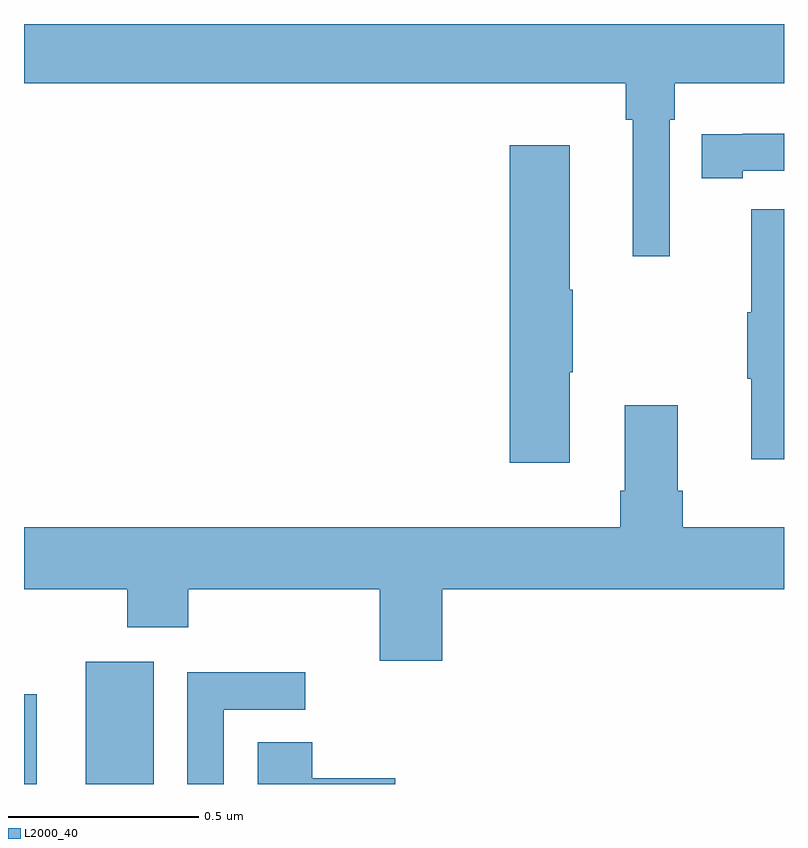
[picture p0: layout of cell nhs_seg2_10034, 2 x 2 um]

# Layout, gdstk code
import gdstk
lib = gdstk.Library(unit=1e-6, precision=1e-09)
def R(c, l, rs):  # rectangles x0, y0, x1, y1
    for r in rs: c.add(gdstk.rectangle(r[:2], r[2:], *l))
def P(c, l, *ps):  # polygons
    for p in ps: c.add(gdstk.Polygon(p, *l))
L2000_40 = (2000, 40)

nhs_seg2_10034 = lib.new_cell('nhs_seg2_10034')
R(nhs_seg2_10034, L2000_40, [(236.162,637.8,236.341,638.122)])
P(nhs_seg2_10034, L2000_40, [(237.699,639.548),(237.713,639.548),(237.713,639.644),(238,639.644),(238,639.8),(236,639.8),(236,639.644),(237.583,639.644),(237.583,639.548),(237.602,639.548),(237.602,639.189),(237.699,639.189)],
  [(237.892,639.414),(238,639.414),(238,639.511),(237.892,639.511),(237.892,639.51),(237.784,639.51),(237.784,639.394),(237.892,639.394)],
  [(237.436,638.884),(237.444,638.884),(237.444,639.101),(237.436,639.101),(237.436,639.481),(237.278,639.481),(237.278,638.646),(237.436,638.646)],
  [(238,639.313),(237.914,639.313),(237.914,639.041),(237.903,639.041),(237.903,638.867),(237.914,638.867),(237.914,638.655),(238,638.655)],
  [(237.1,638.312),(238,638.312),(238,638.476),(237.734,638.476),(237.734,638.572),(237.721,638.572),(237.721,638.797),(237.581,638.797),(237.581,638.572),(237.569,638.572),(237.569,638.476),(236,638.476),(236,638.312),(236.272,638.312),(236.272,638.213),(236.432,638.213),(236.432,638.312),(236.936,638.312),(236.936,638.124),(237.1,638.124)],
  [(236.526,637.995),(236.74,637.995),(236.74,638.094),(236.43,638.094),(236.43,637.8),(236.526,637.8)],
  [(236.033,637.882),(236.034,637.882),(236.034,638.036),(236,638.036),(236,637.8),(236.033,637.8)],
  [(236.977,637.815),(236.759,637.815),(236.759,637.91),(236.615,637.91),(236.615,637.8),(236.977,637.8)])

lib.write_gds('nhs_seg2_10034.gds')
